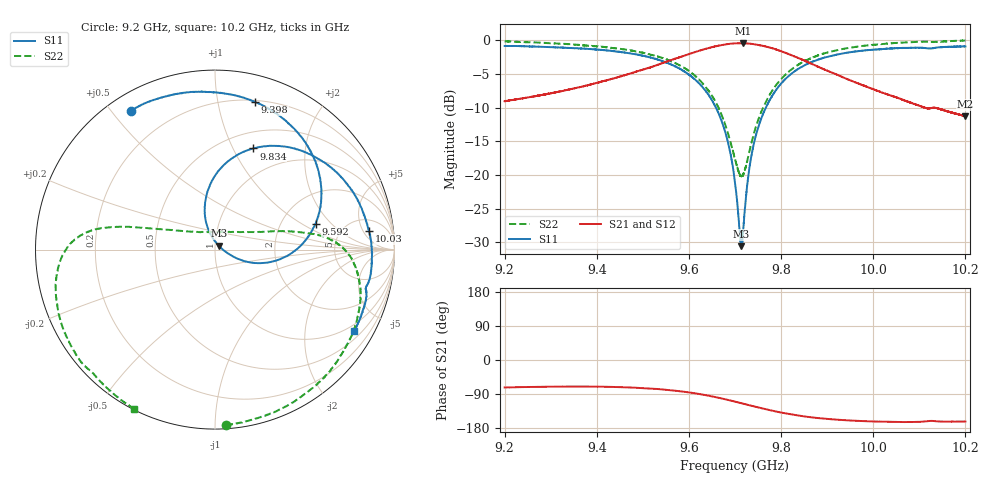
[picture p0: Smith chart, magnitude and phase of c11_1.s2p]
!Agilent Technologies,N5242A,MY51221714,A.09.90.19
!Agilent N5242A: A.09.90.19
!Date: Saturday, March 16, 2024 10:20:56
!Correction: S11(Full 2 Port(1,2))
!S21(Full 2 Port(1,2))
!S12(Full 2 Port(1,2))
!S22(Full 2 Port(1,2))
!S2P File: Measurements: S11, S21, S12, S22:
# Hz S  dB  R 50
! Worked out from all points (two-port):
!   16001 points, 9.2 GHz to 10.2 GHz, reference 50 ohm
!   highest |S21| = -0.46 dB at 9.718 GHz (marker M1); lowest = -11.3 dB at 10.2 GHz (marker M2)
!   |S21| within 3 dB of the highest: 9.540478 GHz to 9.540664 GHz (186.3 kHz wide, 0.00195 % of centre); 9.541 GHz to 9.864 GHz (323.5 MHz wide, 3.33 % of centre)
!   lowest |S11| = -30.6 dB at 9.714 GHz (marker M3), VSWR 1.06, Z = 52 + j2.23 ohm
!   |S11| at or under -10 dB: 9.658 GHz to 9.767 GHz (108.7 MHz wide, 1.12 % of centre)
!   |S22| runs from -20.2 to -0.1 dB; largest |S21 - S12| = 0.012
!   S11 on the Smith chart (normalised r, x): 9.2 GHz: 0.07, +0.56; 9.398 GHz: 0.22, +1.29; 9.592 GHz: 3.10, +1.36; 9.834 GHz: 0.68, +1.20; 10.03 GHz: 8, +7; 10.2 GHz: 0.76, -3.54
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9.2e9  -0.87 121.3  -9.06 -72.5  -9.06 -73.1  -0.17 -86.4
9.27775e9  -0.98 103.7  -8.19 -70.8  -8.16 -71.3  -0.38 -64.7
9.366688e9  -1.24 82.8  -6.92 -70.2  -6.89 -70.6  -0.74 -40.9
9.398312e9  -1.39 74.8  -6.38 -70.3  -6.36 -70.9  -0.91 -32.7
9.464062e9  -1.88 57.0  -5.14 -72.2  -5.14 -72.7  -1.43 -17.2
9.533375e9  -2.90 35.7  -3.64 -76.7  -3.63 -77.2  -2.45 -2.9
9.592188e9  -4.74 14.5  -2.27 -84.2  -2.25 -84.8  -4.23 6.6
9.662562e9  -10.57 -14.3  -0.85 -99.2  -0.84 -99.7  -9.77 18.1
9.684625e9  -15.13 -21.6  -0.58 -105.3  -0.57 -105.8  -13.80 28.8
9.7e9  -21.02 -18.9  -0.49 -109.8  -0.46 -110.4  -17.71 48.5
9.714062e9  -30.57 46.2  -0.47 -114.1  -0.45 -114.7  -20.21 90.7
9.717812e9  -28.20 79.9  -0.46 -115.3  -0.45 -115.9  -19.93 104.1
9.732938e9  -18.24 108.0  -0.53 -120.0  -0.52 -120.5  -16.00 140.8
9.753625e9  -12.27 103.4  -0.76 -126.1  -0.73 -126.8  -11.24 156.3
9.788e9  -7.50 89.1  -1.36 -135.7  -1.37 -136.3  -6.78 164.3
9.834312e9  -4.40 69.2  -2.57 -145.9  -2.58 -146.5  -3.78 169.5
9.866688e9  -3.25 56.6  -3.54 -151.5  -3.53 -151.9  -2.63 173.2
9.948312e9  -1.82 29.6  -5.92 -159.7  -5.92 -160.1  -1.15 -173.9
1.003188e10  -1.27 7.0  -8.08 -163.0  -8.08 -163.6  -0.51 -156.9
1.003338e10  -1.26 6.6  -8.11 -163.0  -8.12 -163.5  -0.50 -156.5
1.01105e10  -1.16 -11.9  -9.98 -162.5  -9.99 -163.1  -0.23 -139.3
1.02e10  -0.94 -30.3  -11.29 -162.3  -11.27 -162.9  -0.06 -116.9
